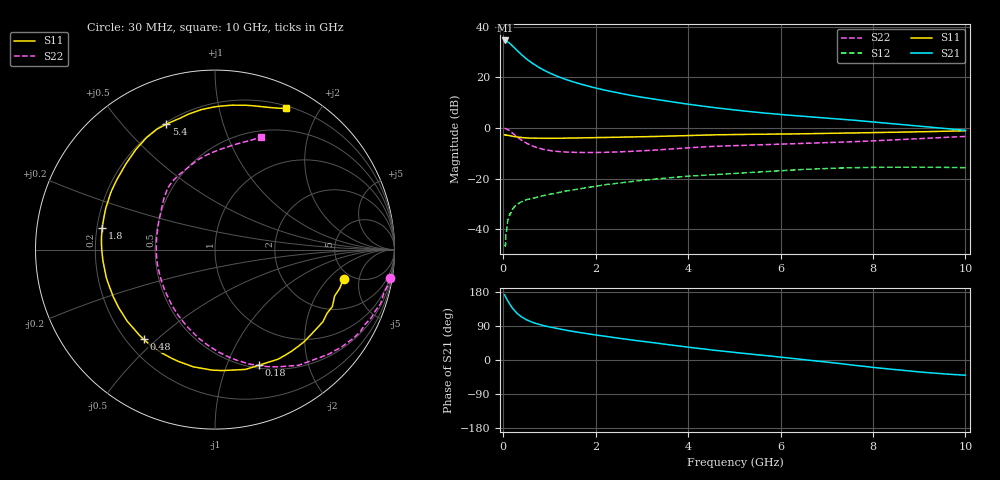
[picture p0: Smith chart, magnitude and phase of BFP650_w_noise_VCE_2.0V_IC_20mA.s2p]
! Infineon Technologies  Discrete & RF Semiconductors
! BFP650
! VCE =  2.0 V,  IC =  20 mA
! Common Emitter S-Parameters:  Jan 2016
# GHz  S  MA  R  50
!  f  S11  S21  S12  S22
! GHz  MAG  ANG  MAG  ANG  MAG  ANG  MAG  ANG
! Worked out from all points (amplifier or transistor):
!   229 points, 30 MHz to 10 GHz, reference 50 ohm
!   highest |S21| = 34.6 dB at 40 MHz (marker M1)
!   |S21| within 3 dB of that: start of sweep to 248.8 MHz
!   unconditionally stable (mu >= 1): 2.658 GHz to end of sweep
!   at 280 MHz: K = 0.23, MSG = 30.8 dB, |S12| = -30.5 dB
!   at 1.78 GHz: K = 0.89, MSG = 20.3 dB, |S12| = -23.7 dB
!   at 10 GHz: K = 1.04, MAG = 6.1 dB, |S12| = -15.7 dB
!   lowest NFmin = 0.66 dB at 450 MHz
!   S11 on the Smith chart (normalised r, x): 30 MHz: 4.33, -3.03; 180 MHz: 0.53, -1.30; 480 MHz: 0.27, -0.45; 1.8 GHz: 0.22, +0.09; 5.4 GHz: 0.21, +0.66; 10 GHz: 0.23, +1.60
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0.03  0.7345 -12.7  53.72 172.0  0.0049 78.3  0.9872 -9.2
0.04  0.7273 -17.3  53.83 169.5  0.0048 86.1  0.9809 -12.1
0.07  0.7181 -29.7  52.46 162.3  0.009 71.6  0.9561 -21.0
0.11  0.7143 -45.7  49.89 153.5  0.0157 66.6  0.9174 -32.3
0.14  0.7061 -56.8  47.31 147.5  0.0199 67.5  0.8752 -39.8
0.18  0.6889 -69.4  43.74 140.4  0.0226 61.2  0.8178 -49.2
0.2  0.6889 -75.7  42.17 136.6  0.0247 59.3  0.7956 -54.1
0.24  0.6753 -86.5  38.81 130.8  0.0276 54.5  0.7394 -62.1
0.3  0.6642 -100.5  34.21 123.1  0.0307 49.6  0.6673 -73.1
0.4  0.6473 -118.1  27.98 113.5  0.0349 43.8  0.5713 -88.0
0.48  0.6379 -128.6  24.22 107.8  0.0373 42.0  0.5151 -97.8
0.6  0.6311 -140.9  19.9 101.0  0.0403 40.1  0.4533 -110.7
0.8  0.6248 -155.2  15.23 92.9  0.0446 38.8  0.3925 -127.7
1.2  0.6271 -173.4  10.27 82.1  0.0529 38.4  0.3422 -152.5
1.7  0.6375 171.6  7.275 71.7  0.0635 37.9  0.328 -173.5
1.8  0.6408 169.0  6.869 69.8  0.0659 37.6  0.328 -177.1
3.4  0.6843 137.7  3.552 43.2  0.0999 27.9  0.3714 144.0
5.1  0.7458 114.5  2.222 18.8  0.128 14.0  0.4515 120.4
5.4  0.7491 111.3  2.081 15.1  0.133 11.9  0.4596 116.7
6.8  0.7768 97.8  1.625 -2.7  0.1556 -0.7  0.5065 101.4
8.4  0.822 78.0  1.223 -24.5  0.1676 -17.2  0.5782 82.7
10  0.8798 63.4  0.901 -40.1  0.1645 -29.0  0.6792 68.0
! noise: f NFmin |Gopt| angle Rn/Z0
0.45  0.66  0.07  93  1.58
0.9  0.68  0.18  172  0.18
1.9  0.84  0.29  -171  0.05
2.4  0.93  0.3  -156  0.06
3.5  1.21  0.34  -129  0.12
